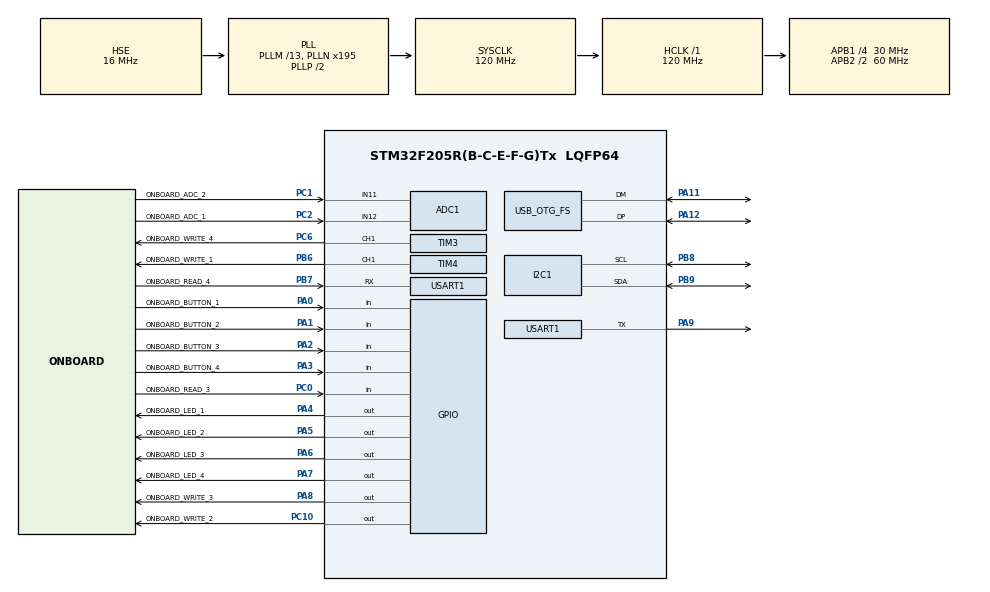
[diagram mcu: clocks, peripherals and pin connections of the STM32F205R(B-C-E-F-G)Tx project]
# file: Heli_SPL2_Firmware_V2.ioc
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ADC1.Channel-0\#ChannelRegularConversion=ADC_CHANNEL_11
ADC1.ContinuousConvMode=ENABLE
ADC1.NbrOfConversionFlag=1
ADC1.Rank-0\#ChannelRegularConversion=1
ADC1.SamplingTime-0\#ChannelRegularConversion=ADC_SAMPLETIME_15CYCLES
ADC1.master=1
Dma.Request0=USART1_RX
Dma.USART1_RX.0.Direction=DMA_PERIPH_TO_MEMORY
Dma.USART1_RX.0.FIFOMode=DMA_FIFOMODE_DISABLE
Dma.USART1_RX.0.Instance=DMA2_Stream2
Dma.USART1_RX.0.MemDataAlignment=DMA_MDATAALIGN_BYTE
Dma.USART1_RX.0.MemInc=DMA_MINC_ENABLE
Dma.USART1_RX.0.Mode=DMA_NORMAL
Dma.USART1_RX.0.PeriphDataAlignment=DMA_PDATAALIGN_BYTE
Dma.USART1_RX.0.PeriphInc=DMA_PINC_DISABLE
Dma.USART1_RX.0.Priority=DMA_PRIORITY_LOW
I2C1.I2C_Mode=I2C_Fast
Mcu.Family=STM32F2
Mcu.Name=STM32F205R(B-C-E-F-G)Tx
Mcu.Package=LQFP64
NVIC.DMA2_Stream2_IRQn=true\:0\:0\:false\:false\:true\:false\:true
NVIC.OTG_FS_IRQn=true\:0\:0\:false\:false\:true\:false\:true
NVIC.PriorityGroup=NVIC_PRIORITYGROUP_4
NVIC.USART1_IRQn=true\:0\:0\:false\:false\:true\:true\:true
PA0-WKUP.GPIO_Label=ONBOARD_BUTTON_1
PA0-WKUP.Signal=GPIO_Input
PA1.GPIO_Label=ONBOARD_BUTTON_2
PA1.Signal=GPIO_Input
PA11.Mode=Device_Only
PA11.Signal=USB_OTG_FS_DM
PA12.Mode=Device_Only
PA12.Signal=USB_OTG_FS_DP
PA13.Mode=Serial_Wire
PA13.Signal=SYS_JTMS-SWDIO
PA14.Mode=Serial_Wire
PA14.Signal=SYS_JTCK-SWCLK
PA2.GPIO_Label=ONBOARD_BUTTON_3
PA2.Signal=GPIO_Input
PA3.GPIO_Label=ONBOARD_BUTTON_4
PA3.Signal=GPIO_Input
PA4.GPIO_Label=ONBOARD_LED_1
PA4.Signal=GPIO_Output
PA5.GPIO_Label=ONBOARD_LED_2
PA5.Signal=GPIO_Output
PA6.GPIO_Label=ONBOARD_LED_3
PA6.Signal=GPIO_Output
PA7.GPIO_Label=ONBOARD_LED_4
PA7.Signal=GPIO_Output
PA8.GPIO_Label=ONBOARD_WRITE_3
PA8.Signal=GPIO_Output
PA9.Mode=Asynchronous
PA9.Signal=USART1_TX
PB6.GPIO_Label=ONBOARD_WRITE_1
PB6.Signal=S_TIM4_CH1
PB7.GPIO_Label=ONBOARD_READ_4
PB7.Mode=Asynchronous
PB7.Signal=USART1_RX
PB8.Mode=I2C
PB8.Signal=I2C1_SCL
PB9.Mode=I2C
PB9.Signal=I2C1_SDA
PC0.GPIO_Label=ONBOARD_READ_3
PC0.Signal=GPIO_Input
PC1.GPIO_Label=ONBOARD_ADC_2
PC1.Signal=ADCx_IN11
PC10.GPIO_Label=ONBOARD_WRITE_2
PC10.Signal=GPIO_Output
PC2.GPIO_Label=ONBOARD_ADC_1
PC2.Signal=ADCx_IN12
PC6.GPIO_Label=ONBOARD_WRITE_4
PC6.Signal=S_TIM3_CH1
PH0-OSC_IN.Mode=HSE-External-Oscillator
PH0-OSC_IN.Signal=RCC_OSC_IN
PH1-OSC_OUT.Mode=HSE-External-Oscillator
PH1-OSC_OUT.Signal=RCC_OSC_OUT
ProjectManager.HeapSize=0x200
ProjectManager.StackSize=0x400
ProjectManager.TargetToolchain=STM32CubeIDE
RCC.48MHZClocksFreq_Value=48000000
RCC.AHBFreq_Value=120000000
RCC.APB1CLKDivider=RCC_HCLK_DIV4
RCC.APB1Freq_Value=30000000
RCC.APB1TimFreq_Value=60000000
RCC.APB2CLKDivider=RCC_HCLK_DIV2
RCC.APB2Freq_Value=60000000
RCC.APB2TimFreq_Value=120000000
RCC.CortexFreq_Value=120000000
RCC.EnbaleCSS=true
RCC.HCLKFreq_Value=120000000
RCC.HSE_VALUE=16000000
RCC.HSI_VALUE=16000000
RCC.LSE_VALUE=32768
RCC.PLLM=13
RCC.PLLN=195
RCC.PLLQ=5
RCC.PLLSourceVirtual=RCC_PLLSOURCE_HSE
RCC.SYSCLKFreq_VALUE=120000000
RCC.SYSCLKSource=RCC_SYSCLKSOURCE_PLLCLK
RCC.VCOOutputFreq_Value=240000000
SH.ADCx_IN11.0=ADC1_IN11,IN11
SH.ADCx_IN12.0=ADC1_IN12,IN12
SH.S_TIM3_CH1.0=TIM3_CH1,PWM Generation1 CH1
SH.S_TIM4_CH1.0=TIM4_CH1,PWM Generation1 CH1
TIM11.Prescaler=120 - 1
TIM3.Channel-PWM\ Generation1\ CH1=TIM_CHANNEL_1
TIM3.Period=20000 - 1
TIM3.Prescaler=60 - 1
TIM4.Channel-Forced\ Output1\ CH1=TIM_CHANNEL_1
TIM4.Channel-PWM\ Generation1\ CH1=TIM_CHANNEL_1
TIM4.Period=2500 -1
TIM4.Prescaler=60 - 1
USART1.BaudRate=100000
USART1.Mode=MODE_TX_RX
USART1.OverSampling=UART_OVERSAMPLING_8
USART1.Parity=PARITY_EVEN
USART1.StopBits=STOPBITS_2
USART1.VirtualMode=VM_ASYNC
USART1.WordLength=WORDLENGTH_9B
USB_DEVICE.CLASS_NAME_FS=CDC
USB_DEVICE.VirtualMode-CDC_FS=Cdc
USB_DEVICE.VirtualModeFS=Cdc_FS
USB_OTG_FS.VirtualMode=Device_Only
VP_TIM11_VS_ClockSourceINT.Mode=Enable_Timer
VP_USB_DEVICE_VS_USB_DEVICE_CDC_FS.Mode=CDC_FS
board=custom

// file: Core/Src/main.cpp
/* USER CODE BEGIN Header */
/**
  ******************************************************************************
  * @file           : main.c
  * @brief          : Main program body
  ******************************************************************************
  * @attention
  *
  * Copyright (c) 2022 STMicroelectronics.
  * All rights reserved.
  *
  * This software is licensed under terms that can be found in the LICENSE file
  * in the root directory of this software component.
  * If no LICENSE file comes with this software, it is provided AS-IS.
  *
  ******************************************************************************
  */
/* USER CODE END Header */
#include "main.h"
#include "usb_device.h"

/* USER CODE BEGIN Includes */
#include "realMain.h"
#include "MPU6050.h"
#include "motorControl.h"
#include "SBUS.h"
#include "human_interface.h"

/* USER CODE END Includes */

ADC_HandleTypeDef hadc1;

I2C_HandleTypeDef hi2c1;

TIM_HandleTypeDef htim3;
TIM_HandleTypeDef htim4;
TIM_HandleTypeDef htim11;

UART_HandleTypeDef huart1;
DMA_HandleTypeDef hdma_usart1_rx;

void SystemClock_Config(void);
static void MX_GPIO_Init(void);
static void MX_ADC1_Init(void);
void MX_I2C1_Init(void);
static void MX_TIM3_Init(void);
static void MX_TIM4_Init(void);
static void MX_TIM11_Init(void);
static void MX_DMA_Init(void);
static void MX_USART1_UART_Init(void);

int main(void)
{

  /* MCU Configuration--------------------------------------------------------*/

  /* Reset of all peripherals, Initializes the Flash interface and the Systick. */
  HAL_Init();

  /* Configure the system clock */
  SystemClock_Config();

  /* Initialize all configured peripherals */
  MX_GPIO_Init();
  MX_ADC1_Init();
  MX_I2C1_Init();
  MX_TIM3_Init();
  MX_TIM4_Init();
  MX_TIM11_Init();
  MX_USB_DEVICE_Init();
  MX_DMA_Init();
  MX_USART1_UART_Init();
  /* USER CODE BEGIN 2 */

  HAL_TIM_Base_Start(&htim11);                                        //start TIM11
  MPU6050_init();
  PPM_init();
  HAL_UART_Receive_DMA(&huart1, SBUS_RxBytes, SBUS_NumberOfBytes);    //start UART reception using DMA (Direct Memory Access)

  LED_ResetAll();
  while (SBUS_Bytes[0] != 0x0F)                                       //only continue if the heli is connected to the remote (start byte is '0x0F')
  {
    if (SBUSNewPackage == true) SBUS_postProcessing();
    LED_status_WaitingForSBUS();
  }

  ESCCalibration();                                                   //

  LED_ResetAll();
  while (SBUS_Channels[2] > motorDeadzone)                           //only continue if throttle is off
  {
    if (SBUSNewPackage == true) SBUS_postProcessing();
    LED_status_WaitingForThrottle0();
  }

  MPU6050_calibration();

  LED_status_Ready();
  /* USER CODE END 2 */

  /* Infinite loop */
  /* USER CODE BEGIN WHILE */
  while (1)
  {
    loop();                                                           //Main Loop
    /* USER CODE END WHILE */

  }
}

void SystemClock_Config(void)
{
  RCC_OscInitTypeDef RCC_OscInitStruct = {0};
  RCC_ClkInitTypeDef RCC_ClkInitStruct = {0};

  /** Initializes the RCC Oscillators according to the specified parameters
  * in the RCC_OscInitTypeDef structure.
  */
  RCC_OscInitStruct.OscillatorType = RCC_OSCILLATORTYPE_HSE;
  RCC_OscInitStruct.HSEState = RCC_HSE_ON;
  RCC_OscInitStruct.PLL.PLLState = RCC_PLL_ON;
  RCC_OscInitStruct.PLL.PLLSource = RCC_PLLSOURCE_HSE;
  RCC_OscInitStruct.PLL.PLLM = 13;
  RCC_OscInitStruct.PLL.PLLN = 195;
  RCC_OscInitStruct.PLL.PLLP = RCC_PLLP_DIV2;
  RCC_OscInitStruct.PLL.PLLQ = 5;
  if (HAL_RCC_OscConfig(&RCC_OscInitStruct) != HAL_OK)
  {
    Error_Handler();
  }
  /** Initializes the CPU, AHB and APB buses clocks
  */
  RCC_ClkInitStruct.ClockType = RCC_CLOCKTYPE_HCLK|RCC_CLOCKTYPE_SYSCLK
                              |RCC_CLOCKTYPE_PCLK1|RCC_CLOCKTYPE_PCLK2;
  RCC_ClkInitStruct.SYSCLKSource = RCC_SYSCLKSOURCE_PLLCLK;
  RCC_ClkInitStruct.AHBCLKDivider = RCC_SYSCLK_DIV1;
  RCC_ClkInitStruct.APB1CLKDivider = RCC_HCLK_DIV4;
  RCC_ClkInitStruct.APB2CLKDivider = RCC_HCLK_DIV2;

  if (HAL_RCC_ClockConfig(&RCC_ClkInitStruct, FLASH_LATENCY_3) != HAL_OK)
  {
    Error_Handler();
  }
  /** Enables the Clock Security System
  */
  HAL_RCC_EnableCSS();
}

static void MX_ADC1_Init(void)
{

  //ADC_ChannelConfTypeDef sConfig = {0};

  /** Configure the global features of the ADC (Clock, Resolution, Data Alignment and number of conversion)
  */
  hadc1.Instance = ADC1;
  hadc1.Init.ClockPrescaler = ADC_CLOCK_SYNC_PCLK_DIV2;
  hadc1.Init.Resolution = ADC_RESOLUTION_12B;
  hadc1.Init.ScanConvMode = DISABLE;
  hadc1.Init.ContinuousConvMode = ENABLE;
  hadc1.Init.DiscontinuousConvMode = DISABLE;
  hadc1.Init.ExternalTrigConvEdge = ADC_EXTERNALTRIGCONVEDGE_NONE;
  hadc1.Init.ExternalTrigConv = ADC_SOFTWARE_START;
  hadc1.Init.DataAlign = ADC_DATAALIGN_RIGHT;
  hadc1.Init.NbrOfConversion = 1;
  hadc1.Init.DMAContinuousRequests = DISABLE;
  hadc1.Init.EOCSelection = ADC_EOC_SINGLE_CONV;
  if (HAL_ADC_Init(&hadc1) != HAL_OK)
  {
    Error_Handler();
  }
  /** Configure for the selected ADC regular channel its corresponding rank in the sequencer and its sample time.
  */
  //sConfig.Channel = ADC_CHANNEL_11;
  //sConfig.Rank = 1;
  //sConfig.SamplingTime = ADC_SAMPLETIME_15CYCLES;
  //if (HAL_ADC_ConfigChannel(&hadc1, &sConfig) != HAL_OK)
  //{
  //  Error_Handler();
  //}

}

void MX_I2C1_Init(void)
{

  hi2c1.Instance = I2C1;
  hi2c1.Init.ClockSpeed = 400000;
  hi2c1.Init.DutyCycle = I2C_DUTYCYCLE_2;
  hi2c1.Init.OwnAddress1 = 0;
  hi2c1.Init.AddressingMode = I2C_ADDRESSINGMODE_7BIT;
  hi2c1.Init.DualAddressMode = I2C_DUALADDRESS_DISABLE;
  hi2c1.Init.OwnAddress2 = 0;
  hi2c1.Init.GeneralCallMode = I2C_GENERALCALL_DISABLE;
  hi2c1.Init.NoStretchMode = I2C_NOSTRETCH_DISABLE;
  if (HAL_I2C_Init(&hi2c1) != HAL_OK)
  {
    Error_Handler();
  }

}

static void MX_TIM3_Init(void)
{

  TIM_MasterConfigTypeDef sMasterConfig = {0};
  TIM_OC_InitTypeDef sConfigOC = {0};

  htim3.Instance = TIM3;
  htim3.Init.Prescaler = 60 - 1;
  htim3.Init.CounterMode = TIM_COUNTERMODE_UP;
  htim3.Init.Period = slowPPM1_Pulselength - 1;
  htim3.Init.ClockDivision = TIM_CLOCKDIVISION_DIV1;
  htim3.Init.AutoReloadPreload = TIM_AUTORELOAD_PRELOAD_DISABLE;
  if (HAL_TIM_PWM_Init(&htim3) != HAL_OK)
  {
    Error_Handler();
  }
  sMasterConfig.MasterOutputTrigger = TIM_TRGO_RESET;
  sMasterConfig.MasterSlaveMode = TIM_MASTERSLAVEMODE_DISABLE;
  if (HAL_TIMEx_MasterConfigSynchronization(&htim3, &sMasterConfig) != HAL_OK)
  {
    Error_Handler();
  }
  sConfigOC.OCMode = TIM_OCMODE_PWM1;
  sConfigOC.Pulse = 0;
  sConfigOC.OCPolarity = TIM_OCPOLARITY_HIGH;
  sConfigOC.OCFastMode = TIM_OCFAST_DISABLE;
  if (HAL_TIM_PWM_ConfigChannel(&htim3, &sConfigOC, TIM_CHANNEL_1) != HAL_OK)
  {
    Error_Handler();
  }
  HAL_TIM_MspPostInit(&htim3);

}

static void MX_TIM4_Init(void)
{

  TIM_MasterConfigTypeDef sMasterConfig = {0};
  TIM_OC_InitTypeDef sConfigOC = {0};

  htim4.Instance = TIM4;
  htim4.Init.Prescaler = 60 - 1;
  htim4.Init.CounterMode = TIM_COUNTERMODE_UP;
  htim4.Init.Period = fastPPM_Pulselength -1;
  htim4.Init.ClockDivision = TIM_CLOCKDIVISION_DIV1;
  htim4.Init.AutoReloadPreload = TIM_AUTORELOAD_PRELOAD_DISABLE;
  if (HAL_TIM_PWM_Init(&htim4) != HAL_OK)
  {
    Error_Handler();
  }
  sMasterConfig.MasterOutputTrigger = TIM_TRGO_RESET;
  sMasterConfig.MasterSlaveMode = TIM_MASTERSLAVEMODE_DISABLE;
  if (HAL_TIMEx_MasterConfigSynchronization(&htim4, &sMasterConfig) != HAL_OK)
  {
    Error_Handler();
  }
  sConfigOC.OCMode = TIM_OCMODE_PWM1;
  sConfigOC.Pulse = 0;
  sConfigOC.OCPolarity = TIM_OCPOLARITY_HIGH;
  sConfigOC.OCFastMode = TIM_OCFAST_DISABLE;
  if (HAL_TIM_PWM_ConfigChannel(&htim4, &sConfigOC, TIM_CHANNEL_1) != HAL_OK)
  {
    Error_Handler();
  }
  HAL_TIM_MspPostInit(&htim4);

}

static void MX_TIM11_Init(void)
{

  htim11.Instance = TIM11;
  htim11.Init.Prescaler = 120 - 1;
  htim11.Init.CounterMode = TIM_COUNTERMODE_UP;
  htim11.Init.Period = 65535;
  htim11.Init.ClockDivision = TIM_CLOCKDIVISION_DIV1;
  htim11.Init.AutoReloadPreload = TIM_AUTORELOAD_PRELOAD_DISABLE;
  if (HAL_TIM_Base_Init(&htim11) != HAL_OK)
  {
    Error_Handler();
  }

}

static void MX_USART1_UART_Init(void)
{

  huart1.Instance = USART1;
  huart1.Init.BaudRate = 100000;
  huart1.Init.WordLength = UART_WORDLENGTH_9B;
  huart1.Init.StopBits = UART_STOPBITS_2;
  huart1.Init.Parity = UART_PARITY_EVEN;
  huart1.Init.Mode = UART_MODE_TX_RX;
  huart1.Init.HwFlowCtl = UART_HWCONTROL_NONE;
  huart1.Init.OverSampling = UART_OVERSAMPLING_8;
  if (HAL_UART_Init(&huart1) != HAL_OK)
  {
    Error_Handler();
  }

}

static void MX_DMA_Init(void)
{

  /* DMA controller clock enable */
  __HAL_RCC_DMA2_CLK_ENABLE();

  /* DMA interrupt init */
  /* DMA2_Stream2_IRQn interrupt configuration */
  HAL_NVIC_SetPriority(DMA2_Stream2_IRQn, 0, 0);
  HAL_NVIC_EnableIRQ(DMA2_Stream2_IRQn);

}

static void MX_GPIO_Init(void)
{
  GPIO_InitTypeDef GPIO_InitStruct = {0};

  /* GPIO Ports Clock Enable */
  __HAL_RCC_GPIOH_CLK_ENABLE();
  __HAL_RCC_GPIOC_CLK_ENABLE();
  __HAL_RCC_GPIOA_CLK_ENABLE();
  __HAL_RCC_GPIOB_CLK_ENABLE();

  /*Configure GPIO pin Output Level */
  HAL_GPIO_WritePin(GPIOA, ONBOARD_LED_1_Pin|ONBOARD_LED_2_Pin|ONBOARD_LED_3_Pin|ONBOARD_LED_4_Pin
                          |ONBOARD_WRITE_3_Pin, GPIO_PIN_RESET);

  /*Configure GPIO pin Output Level */
  HAL_GPIO_WritePin(ONBOARD_WRITE_2_GPIO_Port, ONBOARD_WRITE_2_Pin, GPIO_PIN_RESET);

  /*Configure GPIO pin : ONBOARD_READ_3_Pin */
  GPIO_InitStruct.Pin = ONBOARD_READ_3_Pin;
  GPIO_InitStruct.Mode = GPIO_MODE_INPUT;
  GPIO_InitStruct.Pull = GPIO_NOPULL;
  HAL_GPIO_Init(ONBOARD_READ_3_GPIO_Port, &GPIO_InitStruct);

  /*Configure GPIO pins : ONBOARD_BUTTON_1_Pin ONBOARD_BUTTON_2_Pin ONBOARD_BUTTON_3_Pin ONBOARD_BUTTON_4_Pin */
  GPIO_InitStruct.Pin = ONBOARD_BUTTON_1_Pin|ONBOARD_BUTTON_2_Pin|ONBOARD_BUTTON_3_Pin|ONBOARD_BUTTON_4_Pin;
  GPIO_InitStruct.Mode = GPIO_MODE_INPUT;
  GPIO_InitStruct.Pull = GPIO_NOPULL;
  HAL_GPIO_Init(GPIOA, &GPIO_InitStruct);

  /*Configure GPIO pins : ONBOARD_LED_1_Pin ONBOARD_LED_2_Pin ONBOARD_LED_3_Pin ONBOARD_LED_4_Pin
                           ONBOARD_WRITE_3_Pin */
  GPIO_InitStruct.Pin = ONBOARD_LED_1_Pin|ONBOARD_LED_2_Pin|ONBOARD_LED_3_Pin|ONBOARD_LED_4_Pin
                          |ONBOARD_WRITE_3_Pin;
  GPIO_InitStruct.Mode = GPIO_MODE_OUTPUT_PP;
  GPIO_InitStruct.Pull = GPIO_NOPULL;
  GPIO_InitStruct.Speed = GPIO_SPEED_FREQ_LOW;
  HAL_GPIO_Init(GPIOA, &GPIO_InitStruct);

  /*Configure GPIO pin : ONBOARD_WRITE_2_Pin */
  GPIO_InitStruct.Pin = ONBOARD_WRITE_2_Pin;
  GPIO_InitStruct.Mode = GPIO_MODE_OUTPUT_PP;
  GPIO_InitStruct.Pull = GPIO_NOPULL;
  GPIO_InitStruct.Speed = GPIO_SPEED_FREQ_LOW;
  HAL_GPIO_Init(ONBOARD_WRITE_2_GPIO_Port, &GPIO_InitStruct);

}

/* USER CODE BEGIN 4 */
/**
 * @brief //NOTDONE
 *
 *
 * @param huart
 */
void HAL_UART_RxCpltCallback(UART_HandleTypeDef *huart)
{
  SBUSNewPackage = true;
  HAL_UART_Receive_DMA(&huart1, SBUS_RxBytes, SBUS_NumberOfBytes);
}

void HAL_UART_ErrorCallback(UART_HandleTypeDef *huart)
{
  HAL_UART_Receive_DMA(&huart1, SBUS_RxBytes, SBUS_NumberOfBytes);
}
/* USER CODE END 4 */

void Error_Handler(void)
{
  __disable_irq();
  while (1)
  {
  }
}
